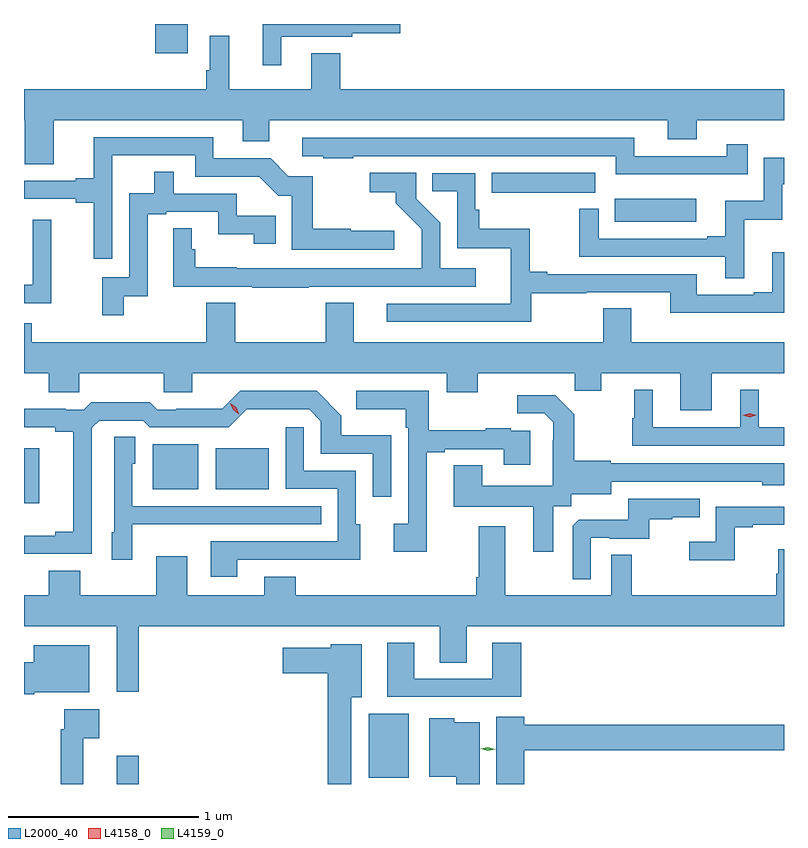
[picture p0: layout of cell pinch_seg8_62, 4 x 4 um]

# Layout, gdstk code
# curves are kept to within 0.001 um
import gdstk
lib = gdstk.Library(unit=1e-6, precision=1e-09)
def R(c, l, rs):  # rectangles x0, y0, x1, y1
    for r in rs: c.add(gdstk.rectangle(r[:2], r[2:], *l))
def P(c, l, *ps):  # polygons
    for p in ps: c.add(gdstk.Polygon(p, *l))
L2000_40 = (2000, 40)
L4158_0 = (4158, 0)
L4159_0 = (4159, 0)

pinch_seg8_62 = lib.new_cell('pinch_seg8_62')
R(pinch_seg8_62, L2000_40, [(912.824,1106.347,912.941,1106.497), (914.15,1106.381,914.362,1106.716), (912.336,1107.824,912.415,1108.114), (913.013,1107.899,913.252,1108.135), (913.346,1107.899,913.624,1108.114), (915.445,1109.306,915.874,1109.428), (914.797,1109.459,915.343,1109.563), (913.028,1110.192,913.198,1110.347)])
P(pinch_seg8_62, L2000_40, [(913.69,1110.279),(914.064,1110.279),(914.064,1110.298),(914.317,1110.298),(914.317,1110.347),(913.592,1110.347),(913.592,1110.129),(913.69,1110.129)],
  [(912.493,1109.84),(913.487,1109.84),(913.487,1109.729),(913.627,1109.729),(913.627,1109.84),(915.725,1109.84),(915.725,1109.741),(915.878,1109.741),(915.878,1109.84),(916.336,1109.84),(916.336,1110.004),(914,1110.004),(914,1110.194),(913.847,1110.194),(913.847,1110.004),(913.417,1110.004),(913.417,1110.286),(913.313,1110.286),(913.313,1110.104),(913.296,1110.104),(913.296,1110.004),(912.336,1110.004),(912.336,1109.84),(912.341,1109.84),(912.341,1109.608),(912.493,1109.608)],
  [(912.801,1109.655),(913.236,1109.655),(913.236,1109.544),(913.575,1109.544),(913.675,1109.444),(913.746,1109.444),(913.746,1109.16),(914.284,1109.16),(914.284,1109.258),(914.055,1109.258),(914.055,1109.269),(913.855,1109.269),(913.855,1109.547),(913.728,1109.547),(913.635,1109.64),(913.333,1109.64),(913.333,1109.751),(912.704,1109.751),(912.704,1109.536),(912.608,1109.536),(912.608,1109.523),(912.336,1109.523),(912.336,1109.427),(912.608,1109.427),(912.608,1109.407),(912.703,1109.407),(912.703,1109.112),(912.801,1109.112)],
  [(916.145,1109.713),(916.034,1109.713),(916.034,1109.652),(915.547,1109.652),(915.547,1109.748),(913.8,1109.748),(913.8,1109.652),(913.912,1109.652),(913.912,1109.64),(914.069,1109.64),(914.069,1109.652),(915.45,1109.652),(915.45,1109.556),(916.145,1109.556)],
  [(916.126,1109.318),(916.326,1109.318),(916.326,1109.504),(916.336,1109.504),(916.336,1109.644),(916.23,1109.644),(916.23,1109.416),(916.028,1109.416),(916.028,1109.23),(915.932,1109.23),(915.932,1109.217),(915.36,1109.217),(915.36,1109.374),(915.259,1109.374),(915.259,1109.121),(916.028,1109.121),(916.028,1109.008),(916.126,1109.008)],
  [(912.862,1108.915),(912.988,1108.915),(912.988,1109.345),(913.084,1109.345),(913.084,1109.358),(913.358,1109.358),(913.358,1109.24),(913.546,1109.24),(913.546,1109.19),(913.661,1109.19),(913.661,1109.337),(913.456,1109.337),(913.456,1109.454),(913.123,1109.454),(913.123,1109.57),(913.022,1109.57),(913.022,1109.456),(912.891,1109.456),(912.891,1109.013),(912.748,1109.013),(912.748,1108.815),(912.862,1108.815)],
  [(913.835,1108.965),(914.713,1108.965),(914.713,1109.061),(914.526,1109.061),(914.526,1109.301),(914.4,1109.427),(914.4,1109.563),(914.157,1109.563),(914.157,1109.462),(914.292,1109.462),(914.292,1109.404),(914.429,1109.266),(914.429,1109.061),(913.457,1109.061),(913.457,1109.066),(913.238,1109.066),(913.238,1109.162),(913.219,1109.162),(913.219,1109.273),(913.122,1109.273),(913.121,1108.965),(913.537,1108.965),(913.537,1108.96),(913.835,1108.96)],
  [(915.007,1108.93),(915.296,1108.93),(915.296,1108.935),(915.737,1108.935),(915.737,1108.826),(916.336,1108.826),(916.336,1109.146),(916.274,1109.146),(916.274,1108.936),(916.178,1108.936),(916.178,1108.923),(915.877,1108.923),(915.877,1109.031),(915.091,1109.031),(915.091,1109.044),(914.999,1109.044),(914.999,1109.27),(914.732,1109.27),(914.732,1109.369),(914.712,1109.369),(914.712,1109.562),(914.485,1109.562),(914.485,1109.467),(914.616,1109.467),(914.616,1109.167),(914.897,1109.167),(914.897,1108.875),(914.244,1108.875),(914.244,1108.779),(915.007,1108.779)],
  [(912.48,1109.317),(912.381,1109.317),(912.381,1108.974),(912.336,1108.974),(912.336,1108.878),(912.48,1108.878)],
  [(915.955,1108.508),(916.336,1108.508),(916.336,1108.672),(915.532,1108.672),(915.532,1108.85),(915.385,1108.85),(915.385,1108.672),(914.071,1108.672),(914.071,1108.88),(913.924,1108.88),(913.924,1108.672),(913.449,1108.672),(913.449,1108.88),(913.294,1108.88),(913.294,1108.672),(912.377,1108.672),(912.377,1108.771),(912.336,1108.771),(912.336,1108.508),(912.467,1108.508),(912.467,1108.41),(912.627,1108.41),(912.627,1108.508),(913.072,1108.508),(913.072,1108.41),(913.222,1108.41),(913.222,1108.508),(914.561,1108.508),(914.561,1108.409),(914.725,1108.409),(914.725,1108.508),(915.235,1108.508),(915.235,1108.418),(915.373,1108.418),(915.373,1108.508),(915.791,1108.508),(915.791,1108.314),(915.955,1108.314)],
  [(916.336,1108.224),(916.204,1108.224),(916.204,1108.423),(916.106,1108.423),(916.106,1108.224),(915.646,1108.224),(915.646,1108.423),(915.548,1108.423),(915.548,1108.272),(915.537,1108.272),(915.537,1108.128),(916.336,1108.128)],
  [(914.455,1108.092),(914.551,1108.092),(914.551,1108.11),(914.861,1108.11),(914.861,1108.026),(915.001,1108.026),(915.001,1108.206),(914.897,1108.206),(914.897,1108.219),(914.765,1108.219),(914.765,1108.208),(914.467,1108.208),(914.467,1108.416),(914.085,1108.416),(914.085,1108.319),(914.346,1108.319),(914.346,1108.223),(914.358,1108.223),(914.358,1107.718),(914.283,1107.718),(914.283,1107.57),(914.455,1107.57)],
  [(912.693,1108.221),(912.732,1108.26),(912.963,1108.26),(912.999,1108.224),(913.413,1108.224),(913.508,1108.319),(913.836,1108.32),(913.899,1108.257),(913.899,1108.086),(914.172,1108.086),(914.172,1107.858),(914.268,1107.858),(914.268,1108.183),(914.007,1108.183),(914.007,1108.286),(913.876,1108.416),(913.473,1108.416),(913.379,1108.322),(913.138,1108.322),(913.138,1108.317),(913.038,1108.317),(912.999,1108.357),(912.691,1108.357),(912.651,1108.317),(912.557,1108.317),(912.557,1108.322),(912.336,1108.322),(912.336,1108.224),(912.5,1108.224),(912.5,1108.202),(912.596,1108.202),(912.596,1107.674),(912.5,1107.674),(912.5,1107.654),(912.336,1107.654),(912.336,1107.558),(912.693,1107.558)],
  [(915.121,1107.808),(915.216,1107.808),(915.216,1107.872),(915.427,1107.872),(915.427,1107.939),(916.221,1107.938),(916.221,1107.92),(916.336,1107.92),(916.336,1108.035),(915.423,1108.035),(915.423,1108.048),(915.231,1108.048),(915.231,1108.293),(915.131,1108.393),(914.931,1108.393),(914.931,1108.299),(915.075,1108.299),(915.122,1108.252),(915.122,1108.157),(915.12,1108.157),(915.12,1107.916),(914.749,1107.916),(914.749,1108.025),(914.597,1108.025),(914.597,1107.806),(915.017,1107.806),(915.017,1107.57),(915.121,1107.57)],
  [(913.459,1107.528),(913.889,1107.528),(913.889,1107.527),(914.107,1107.527),(914.107,1107.714),(914.082,1107.714),(914.082,1107.996),(913.809,1107.996),(913.809,1108.225),(913.713,1108.225),(913.713,1107.9),(913.986,1107.9),(913.986,1107.624),(913.319,1107.624),(913.319,1107.438),(913.459,1107.438)],
  [(912.906,1107.713),(913.223,1107.713),(913.223,1107.714),(913.901,1107.714),(913.901,1107.81),(912.906,1107.81),(912.906,1108.032),(912.922,1108.032),(912.922,1108.175),(912.81,1108.175),(912.81,1107.672),(912.797,1107.672),(912.797,1107.528),(912.906,1107.528)],
  [(915.318,1107.642),(915.418,1107.642),(915.418,1107.639),(915.626,1107.639),(915.626,1107.741),(915.749,1107.741),(915.749,1107.752),(915.893,1107.752),(915.893,1107.849),(915.516,1107.849),(915.516,1107.737),(915.257,1107.737),(915.225,1107.705),(915.225,1107.425),(915.318,1107.425)],
  [(916.077,1107.699),(916.171,1107.699),(916.171,1107.711),(916.336,1107.711),(916.336,1107.807),(915.978,1107.807),(915.978,1107.622),(915.837,1107.622),(915.837,1107.524),(916.077,1107.524)],
  [(912.941,1107.176),(914.525,1107.176),(914.525,1106.986),(914.665,1106.986),(914.665,1107.176),(916.336,1107.176),(916.336,1107.583),(916.307,1107.583),(916.307,1107.453),(916.295,1107.453),(916.295,1107.34),(915.535,1107.34),(915.535,1107.554),(915.426,1107.554),(915.426,1107.34),(914.869,1107.34),(914.869,1107.703),(914.729,1107.703),(914.729,1107.436),(914.717,1107.436),(914.717,1107.34),(913.765,1107.34),(913.765,1107.439),(913.601,1107.439),(913.601,1107.34),(913.195,1107.34),(913.195,1107.547),(913.031,1107.547),(913.031,1107.34),(912.631,1107.34),(912.631,1107.469),(912.467,1107.469),(912.467,1107.34),(912.336,1107.34),(912.336,1107.176),(912.824,1107.176),(912.824,1106.832),(912.941,1106.832)],
  [(914.954,1107.091),(914.801,1107.091),(914.801,1106.901),(914.389,1106.901),(914.389,1107.091),(914.249,1107.091),(914.249,1106.805),(914.954,1106.805)],
  [(914.059,1106.804),(914.113,1106.804),(914.113,1107.082),(913.95,1107.082),(913.95,1107.064),(913.698,1107.064),(913.698,1106.93),(913.934,1106.93),(913.934,1106.347),(914.059,1106.347)],
  [(912.39,1106.831),(912.679,1106.831),(912.679,1107.076),(912.386,1107.076),(912.386,1106.989),(912.336,1106.989),(912.336,1106.819),(912.39,1106.819)],
  [(912.647,1106.588),(912.733,1106.588),(912.733,1106.74),(912.549,1106.74),(912.549,1106.636),(912.529,1106.636),(912.529,1106.347),(912.647,1106.347)],
  [(914.969,1106.524),(916.336,1106.524),(916.336,1106.66),(914.969,1106.66),(914.969,1106.701),(914.822,1106.701),(914.822,1106.347),(914.969,1106.347)],
  [(914.734,1106.671),(914.601,1106.671),(914.601,1106.692),(914.468,1106.692),(914.468,1106.384),(914.612,1106.384),(914.612,1106.347),(914.734,1106.347)])
P(pinch_seg8_62, L4158_0, [(916.155,1108.278),(916.119,1108.287),(916.119,1108.288),(916.119,1108.288),(916.155,1108.298),(916.191,1108.288),(916.191,1108.288),(916.191,1108.287)],
  [(913.467,1108.294),(913.436,1108.316),(913.421,1108.35),(913.421,1108.35),(913.421,1108.35),(913.452,1108.329),(913.467,1108.295),(913.467,1108.294)])
P(pinch_seg8_62, L4159_0, [(914.778,1106.521),(914.74,1106.532),(914.74,1106.532),(914.74,1106.532),(914.778,1106.541),(914.816,1106.531),(914.816,1106.53),(914.816,1106.53)])

lib.write_gds('pinch_seg8_62.gds')
